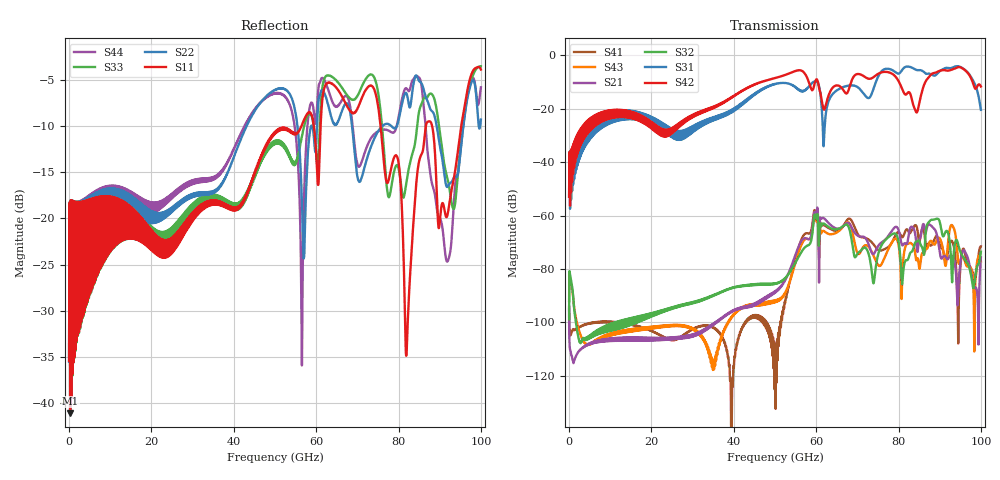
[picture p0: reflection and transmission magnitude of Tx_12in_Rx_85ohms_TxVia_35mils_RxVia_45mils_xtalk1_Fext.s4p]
! Info: Touchstone file created by Circ.  Input file=Tx_12in_Rx_85ohms_TxVia_35mils_RxVia_45mils.circ
# Hz S RI R 50
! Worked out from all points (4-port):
!   10000 points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, 10 MHz to 100 GHz, reference 50 ohm
!   strongest paths, dB at 10 MHz, 25.01 GHz, 50.01 GHz, 75.01 GHz, 100 GHz:
!     S42: -53.0, -27.2, -8.5, -7.0, -11.7
!     S31: -53.0, -28.2, -10.8, -8.1, -20.4
!     S32: -98.9, -95.0, -85.4, -74.8, -73.6
!     S21: -95.0, -106.2, -88.4, -71.5, -75.6
!     S43: -92.0, -101.5, -91.8, -78.5, -77.2
!     S41: -94.2, -106.5, -109.1, -72.8, -71.6
!   lowest |S11| = -41.1 dB at 260 MHz (marker M1), VSWR 1.02, Z = 49.2 + j0.425 ohm
!   |S11| at or under -10 dB: start of sweep to 56.39 GHz; 75.65 GHz to 86.63 GHz (10.98 GHz wide, 13.5 % of centre); 88.17 GHz to 95.21 GHz (7.036 GHz wide, 7.67 % of centre)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
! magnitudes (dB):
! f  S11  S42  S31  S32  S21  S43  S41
! 10 MHz  -35.4  -53.0  -53.0  -98.9  -95.0  -92.0  -94.2
! 260 MHz  -41.1  -46.4  -46.4  -82.3  -110.4  -83.3  -104.9
! 59.92 GHz  -12.2  -9.2  -9.6  -60.7  -59.6  -60.9  -59.4
! 73.27 GHz  -5.6  -8.7  -15.2  -78.3  -73.1  -72.9  -69.7
! 81.99 GHz  -34.3  -14.5  -4.2  -76.7  -70.7  -70.7  -65.2
! 91.89 GHz  -19.6  -5.8  -4.7  -66.0  -76.4  -72.3  -74.8
! 100 GHz  -3.8  -11.7  -20.4  -73.6  -75.6  -77.2  -71.6
